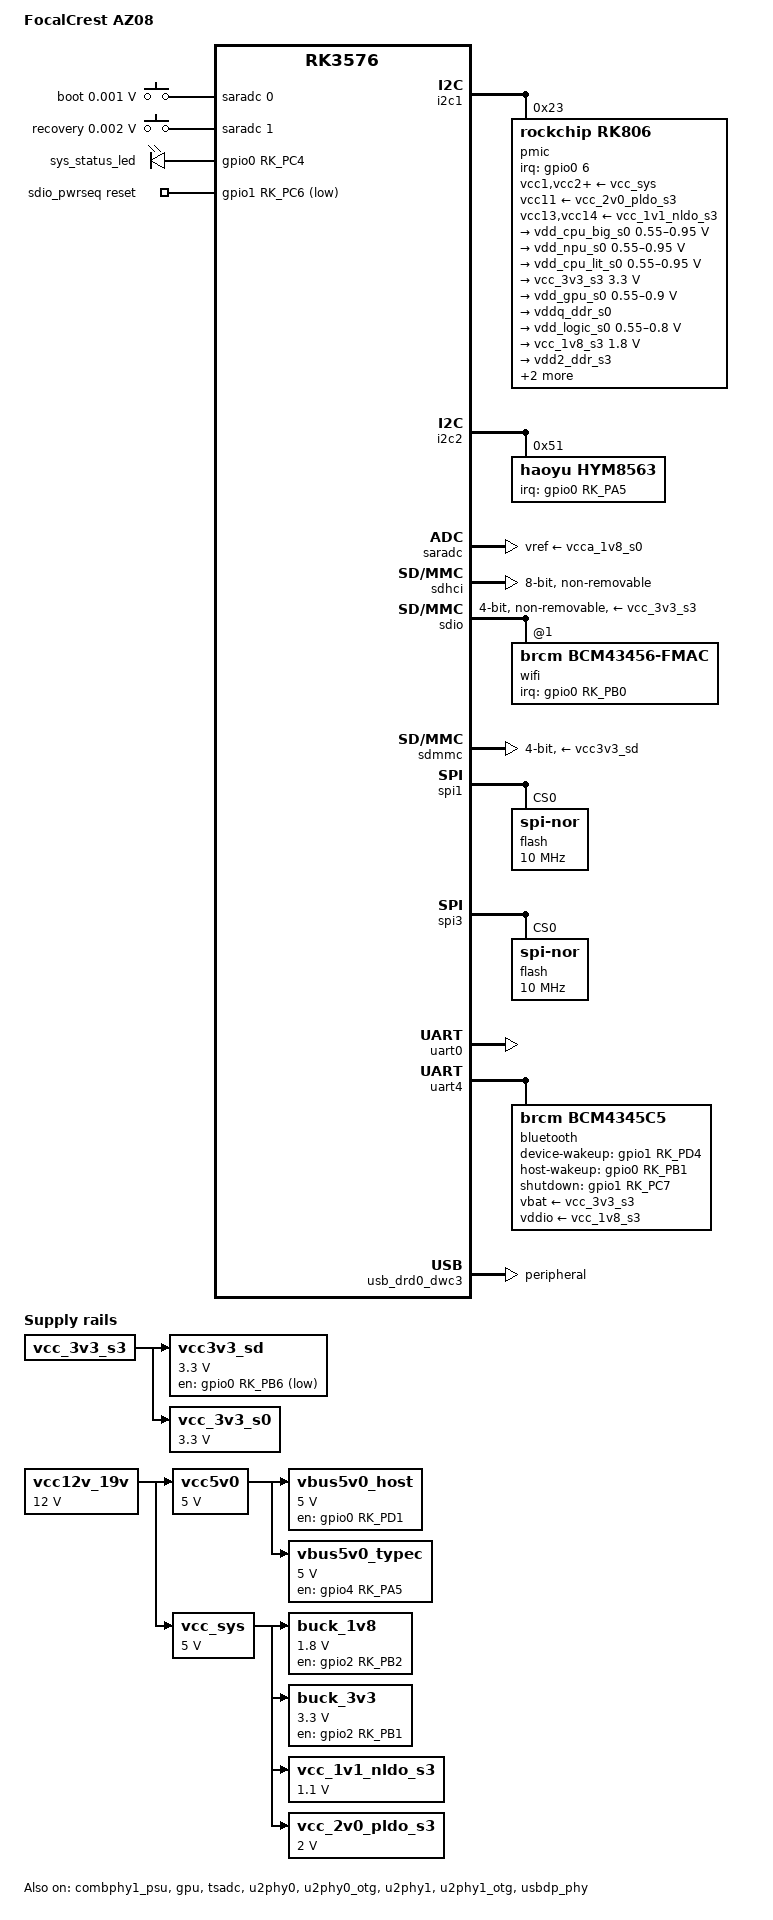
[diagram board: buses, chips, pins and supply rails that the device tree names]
// SPDX-License-Identifier: (GPL-2.0+ OR MIT)
/*
 * Copyright (c) 2026 FocalCrest.
 *
 */

/dts-v1/;

#include <dt-bindings/gpio/gpio.h>
#include <dt-bindings/input/input.h>
#include <dt-bindings/interrupt-controller/irq.h>
#include <dt-bindings/leds/common.h>
#include <dt-bindings/pinctrl/rockchip.h>
#include "rk3576.dtsi"

/ {
	model = "FocalCrest AZ08";
	compatible = "focalcrest,rk3576s-az08", "rockchip,rk3576";

	aliases {
		mmc0 = &sdhci;
		mmc1 = &sdmmc;
		mmc2 = &sdio;
	};

	chosen {
		stdout-path = "serial0:1500000n8";
	};

	reserved-memory {
		#address-cells = <2>;
		#size-cells = <2>;
		ranges;

		optee@48400000 {
			reg = <0x0 0x48400000 0x0 0x01000000>;
			no-map;
		};
	};

	adc-keys-0 {
		compatible = "adc-keys";
		io-channels = <&saradc 0>;
		io-channel-names = "buttons";
		keyup-threshold-microvolt = <1800000>;
		poll-interval = <100>;

		button-boot {
			label = "boot";
			linux,code = <KEY_1>;
			press-threshold-microvolt = <1000>;
		};
	};

	adc-keys-1 {
		compatible = "adc-keys";
		io-channels = <&saradc 1>;
		io-channel-names = "buttons";
		keyup-threshold-microvolt = <1800000>;
		poll-interval = <100>;

		button-recovery {
			label = "recovery";
			linux,code = <KEY_2>;
			press-threshold-microvolt = <2000>;
		};
	};

	leds {
		compatible = "gpio-leds";

		sys_status_led: led-0 {
			function = LED_FUNCTION_HEARTBEAT;
			gpios = <&gpio0 RK_PC4 GPIO_ACTIVE_HIGH>;
			label = "sys_status_led";
			linux,default-trigger = "heartbeat";
			pinctrl-names = "default";
			pinctrl-0 = <&sys_status_led_pin>;
		};
	};

	buck_1v8: regulator-buck-1v8 {
		compatible = "regulator-fixed";
		enable-active-high;
		gpio = <&gpio2 RK_PB2 GPIO_ACTIVE_HIGH>;
		pinctrl-names = "default";
		pinctrl-0 = <&buck_1v8_en>;
		regulator-name = "buck_1v8";
		regulator-always-on;
		regulator-boot-on;
		regulator-min-microvolt = <1800000>;
		regulator-max-microvolt = <1800000>;
		vin-supply = <&vcc_sys>;
	};

	buck_3v3: regulator-buck-3v3 {
		compatible = "regulator-fixed";
		enable-active-high;
		gpio = <&gpio2 RK_PB1 GPIO_ACTIVE_HIGH>;
		pinctrl-names = "default";
		pinctrl-0 = <&buck_3v3_en>;
		regulator-name = "buck_3v3";
		regulator-always-on;
		regulator-boot-on;
		regulator-min-microvolt = <3300000>;
		regulator-max-microvolt = <3300000>;
		vin-supply = <&vcc_sys>;
	};

	vbus5v0_host: regulator-vbus5v0-host {
		compatible = "regulator-fixed";
		enable-active-high;
		gpio = <&gpio0 RK_PD1 GPIO_ACTIVE_HIGH>;
		pinctrl-names = "default";
		pinctrl-0 = <&usb_otg1_pwren>;
		regulator-name = "vbus5v0_host";
		regulator-min-microvolt = <5000000>;
		regulator-max-microvolt = <5000000>;
		vin-supply = <&vcc5v0>;
	};

	vbus5v0_typec: regulator-vbus5v0-typec {
		compatible = "regulator-fixed";
		enable-active-high;
		gpio = <&gpio4 RK_PA5 GPIO_ACTIVE_HIGH>;
		pinctrl-names = "default";
		pinctrl-0 = <&usb_otg0_pwren>;
		regulator-name = "vbus5v0_typec";
		regulator-min-microvolt = <5000000>;
		regulator-max-microvolt = <5000000>;
		vin-supply = <&vcc5v0>;
	};

	vcc12v_19v: regulator-vcc12v-19v {
		compatible = "regulator-fixed";
		regulator-name = "vcc12v_19v";
		regulator-always-on;
		regulator-boot-on;
		regulator-min-microvolt = <12000000>;
		regulator-max-microvolt = <12000000>;
	};

	vcc3v3_sd: regulator-vcc3v3-sd {
		compatible = "regulator-fixed";
		gpio = <&gpio0 RK_PB6 GPIO_ACTIVE_LOW>;
		regulator-name = "vcc3v3_sd";
		regulator-always-on;
		regulator-boot-on;
		regulator-min-microvolt = <3300000>;
		regulator-max-microvolt = <3300000>;
		vin-supply = <&vcc_3v3_s3>;
	};

	vcc5v0: regulator-vcc5v0 {
		compatible = "regulator-fixed";
		regulator-name = "vcc5v0";
		regulator-always-on;
		regulator-boot-on;
		regulator-min-microvolt = <5000000>;
		regulator-max-microvolt = <5000000>;
		vin-supply = <&vcc12v_19v>;
	};

	vcc_1v1_nldo_s3: regulator-vcc-1v1-nldo-s3 {
		compatible = "regulator-fixed";
		regulator-name = "vcc_1v1_nldo_s3";
		regulator-always-on;
		regulator-boot-on;
		regulator-min-microvolt = <1100000>;
		regulator-max-microvolt = <1100000>;
		vin-supply = <&vcc_sys>;
	};

	vcc_2v0_pldo_s3: regulator-vcc-2v0-pldo-s3 {
		compatible = "regulator-fixed";
		regulator-name = "vcc_2v0_pldo_s3";
		regulator-always-on;
		regulator-boot-on;
		regulator-min-microvolt = <2000000>;
		regulator-max-microvolt = <2000000>;
		vin-supply = <&vcc_sys>;
	};

	vcc_3v3_s0: regulator-vcc-3v3-s0 {
		compatible = "regulator-fixed";
		regulator-name = "vcc_3v3_s0";
		regulator-always-on;
		regulator-boot-on;
		regulator-min-microvolt = <3300000>;
		regulator-max-microvolt = <3300000>;
		vin-supply = <&vcc_3v3_s3>;
	};

	vcc_sys: regulator-vcc-sys {
		compatible = "regulator-fixed";
		regulator-name = "vcc_sys";
		regulator-always-on;
		regulator-boot-on;
		regulator-min-microvolt = <5000000>;
		regulator-max-microvolt = <5000000>;
		vin-supply = <&vcc12v_19v>;
	};

	sdio_pwrseq: sdio-pwrseq {
		compatible = "mmc-pwrseq-simple";
		clocks = <&xin32k>;
		clock-names = "ext_clock";
		pinctrl-names = "default";
		pinctrl-0 = <&wifi_poweren_gpio>, <&clk1_32k_pins>;
		post-power-on-delay-ms = <200>;
		reset-gpios = <&gpio1 RK_PC6 GPIO_ACTIVE_LOW>;
	};
};

&combphy1_psu {
	status = "okay";
};

&cpu_b0 {
	cpu-supply = <&vdd_cpu_big_s0>;
};

&cpu_b1 {
	cpu-supply = <&vdd_cpu_big_s0>;
};

&cpu_b2 {
	cpu-supply = <&vdd_cpu_big_s0>;
};

&cpu_b3 {
	cpu-supply = <&vdd_cpu_big_s0>;
};

&cpu_l0 {
	cpu-supply = <&vdd_cpu_lit_s0>;
};

&cpu_l1 {
	cpu-supply = <&vdd_cpu_lit_s0>;
};

&cpu_l2 {
	cpu-supply = <&vdd_cpu_lit_s0>;
};

&cpu_l3 {
	cpu-supply = <&vdd_cpu_lit_s0>;
};

&gpu {
	mali-supply = <&vdd_gpu_s0>;
	status = "okay";
};

&i2c1 {
	status = "okay";

	pmic@23 {
		compatible = "rockchip,rk806";
		reg = <0x23>;

		interrupt-parent = <&gpio0>;
		interrupts = <6 IRQ_TYPE_LEVEL_LOW>;

		pinctrl-names = "default";
		pinctrl-0 = <&pmic_pins>, <&rk806_dvs1_null>,
			    <&rk806_dvs2_null>, <&rk806_dvs3_null>;

		system-power-controller;

		vcc1-supply = <&vcc_sys>;
		vcc2-supply = <&vcc_sys>;
		vcc3-supply = <&vcc_sys>;
		vcc4-supply = <&vcc_sys>;
		vcc5-supply = <&vcc_sys>;
		vcc6-supply = <&vcc_sys>;
		vcc7-supply = <&vcc_sys>;
		vcc8-supply = <&vcc_sys>;
		vcc9-supply = <&vcc_sys>;
		vcc10-supply = <&vcc_sys>;
		vcc11-supply = <&vcc_2v0_pldo_s3>;
		vcc12-supply = <&vcc_sys>;
		vcc13-supply = <&vcc_1v1_nldo_s3>;
		vcc14-supply = <&vcc_1v1_nldo_s3>;
		vcca-supply = <&vcc_sys>;

		gpio-controller;
		#gpio-cells = <2>;

		rk806_dvs1_null: dvs1-null-pins {
			pins = "gpio_pwrctrl1";
			function = "pin_fun0";
		};

		rk806_dvs2_null: dvs2-null-pins {
			pins = "gpio_pwrctrl2";
			function = "pin_fun0";
		};

		rk806_dvs3_null: dvs3-null-pins {
			pins = "gpio_pwrctrl3";
			function = "pin_fun0";
		};

		rk806_dvs1_slp: dvs1-slp-pins {
			pins = "gpio_pwrctrl1";
			function = "pin_fun1";
		};

		rk806_dvs1_pwrdn: dvs1-pwrdn-pins {
			pins = "gpio_pwrctrl1";
			function = "pin_fun2";
		};

		rk806_dvs1_rst: dvs1-rst-pins {
			pins = "gpio_pwrctrl1";
			function = "pin_fun3";
		};

		rk806_dvs2_slp: dvs2-slp-pins {
			pins = "gpio_pwrctrl2";
			function = "pin_fun1";
		};

		rk806_dvs2_pwrdn: dvs2-pwrdn-pins {
			pins = "gpio_pwrctrl2";
			function = "pin_fun2";
		};

		rk806_dvs2_rst: dvs2-rst-pins {
			pins = "gpio_pwrctrl2";
			function = "pin_fun3";
		};

		rk806_dvs2_dvs: dvs2-dvs-pins {
			pins = "gpio_pwrctrl2";
			function = "pin_fun4";
		};

		rk806_dvs2_gpio: dvs2-gpio-pins {
			pins = "gpio_pwrctrl2";
			function = "pin_fun5";
		};

		rk806_dvs3_slp: dvs3-slp-pins {
			pins = "gpio_pwrctrl3";
			function = "pin_fun1";
		};

		rk806_dvs3_pwrdn: dvs3-pwrdn-pins {
			pins = "gpio_pwrctrl3";
			function = "pin_fun2";
		};

		rk806_dvs3_rst: dvs3-rst-pins {
			pins = "gpio_pwrctrl3";
			function = "pin_fun3";
		};

		rk806_dvs3_dvs: dvs3-dvs-pins {
			pins = "gpio_pwrctrl3";
			function = "pin_fun4";
		};

		rk806_dvs3_gpio: dvs3-gpio-pins {
			pins = "gpio_pwrctrl3";
			function = "pin_fun5";
		};

		regulators {
			vdd_cpu_big_s0: dcdc-reg1 {
				regulator-always-on;
				regulator-boot-on;
				regulator-min-microvolt = <550000>;
				regulator-max-microvolt = <950000>;
				regulator-ramp-delay = <12500>;
				regulator-name = "vdd_cpu_big_s0";
				regulator-enable-ramp-delay = <400>;
				regulator-state-mem {
					regulator-off-in-suspend;
				};
			};

			vdd_npu_s0: dcdc-reg2 {
				regulator-boot-on;
				regulator-min-microvolt = <550000>;
				regulator-max-microvolt = <950000>;
				regulator-ramp-delay = <12500>;
				regulator-name = "vdd_npu_s0";
				regulator-enable-ramp-delay = <400>;
				regulator-state-mem {
					regulator-off-in-suspend;
				};
			};

			vdd_cpu_lit_s0: dcdc-reg3 {
				regulator-always-on;
				regulator-boot-on;
				regulator-min-microvolt = <550000>;
				regulator-max-microvolt = <950000>;
				regulator-ramp-delay = <12500>;
				regulator-name = "vdd_cpu_lit_s0";
				regulator-state-mem {
					regulator-off-in-suspend;
					regulator-suspend-microvolt = <750000>;
				};
			};

			vcc_3v3_s3: dcdc-reg4 {
				regulator-always-on;
				regulator-boot-on;
				regulator-min-microvolt = <3300000>;
				regulator-max-microvolt = <3300000>;
				regulator-name = "vcc_3v3_s3";
				regulator-state-mem {
					regulator-on-in-suspend;
					regulator-suspend-microvolt = <3300000>;
				};
			};

			vdd_gpu_s0: dcdc-reg5 {
				regulator-boot-on;
				regulator-min-microvolt = <550000>;
				regulator-max-microvolt = <900000>;
				regulator-ramp-delay = <12500>;
				regulator-name = "vdd_gpu_s0";
				regulator-enable-ramp-delay = <400>;
				regulator-state-mem {
					regulator-off-in-suspend;
					regulator-suspend-microvolt = <850000>;
				};
			};

			vddq_ddr_s0: dcdc-reg6 {
				regulator-always-on;
				regulator-boot-on;
				regulator-name = "vddq_ddr_s0";
				regulator-state-mem {
					regulator-off-in-suspend;
				};
			};

			vdd_logic_s0: dcdc-reg7 {
				regulator-always-on;
				regulator-boot-on;
				regulator-min-microvolt = <550000>;
				regulator-max-microvolt = <800000>;
				regulator-name = "vdd_logic_s0";
				regulator-state-mem {
					regulator-off-in-suspend;
				};
			};

			vcc_1v8_s3: dcdc-reg8 {
				regulator-always-on;
				regulator-boot-on;
				regulator-min-microvolt = <1800000>;
				regulator-max-microvolt = <1800000>;
				regulator-name = "vcc_1v8_s3";
				regulator-state-mem {
					regulator-on-in-suspend;
					regulator-suspend-microvolt = <1800000>;
				};
			};

			vdd2_ddr_s3: dcdc-reg9 {
				regulator-always-on;
				regulator-boot-on;
				regulator-name = "vdd2_ddr_s3";
				regulator-state-mem {
					regulator-on-in-suspend;
				};
			};

			vdd_ddr_s0: dcdc-reg10 {
				regulator-always-on;
				regulator-boot-on;
				regulator-min-microvolt = <550000>;
				regulator-max-microvolt = <1200000>;
				regulator-name = "vdd_ddr_s0";
				regulator-state-mem {
					regulator-off-in-suspend;
				};
			};

			vcca_1v8_s0: pldo-reg1 {
				regulator-always-on;
				regulator-boot-on;
				regulator-min-microvolt = <1800000>;
				regulator-max-microvolt = <1800000>;
				regulator-name = "vcca_1v8_s0";
				regulator-state-mem {
					regulator-off-in-suspend;
				};
			};

			vcca1v8_pldo2_s0: pldo-reg2 {
				regulator-always-on;
				regulator-boot-on;
				regulator-min-microvolt = <1800000>;
				regulator-max-microvolt = <1800000>;
				regulator-name = "vcca1v8_pldo2_s0";
				regulator-state-mem {
					regulator-off-in-suspend;
				};
			};

			vdda_1v2_s0: pldo-reg3 {
				regulator-always-on;
				regulator-boot-on;
				regulator-min-microvolt = <1200000>;
				regulator-max-microvolt = <1200000>;
				regulator-name = "vdda_1v2_s0";
				regulator-state-mem {
					regulator-off-in-suspend;
				};
			};

			vcca_3v3_s0: pldo-reg4 {
				regulator-always-on;
				regulator-boot-on;
				regulator-min-microvolt = <3300000>;
				regulator-max-microvolt = <3300000>;
				regulator-name = "vcca_3v3_s0";
				regulator-state-mem {
					regulator-off-in-suspend;
				};
			};

			vccio_sd_s0: pldo-reg5 {
				regulator-always-on;
				regulator-boot-on;
				regulator-min-microvolt = <1800000>;
				regulator-max-microvolt = <3300000>;
				regulator-name = "vccio_sd_s0";
				regulator-state-mem {
					regulator-off-in-suspend;
				};
			};

			vcca1v8_pldo6_s3: pldo-reg6 {
				regulator-always-on;
				regulator-boot-on;
				regulator-min-microvolt = <1800000>;
				regulator-max-microvolt = <1800000>;
				regulator-name = "vcca1v8_pldo6_s3";
				regulator-state-mem {
					regulator-on-in-suspend;
					regulator-suspend-microvolt = <1800000>;
				};
			};

			vdd_0v75_s3: nldo-reg1 {
				regulator-always-on;
				regulator-boot-on;
				regulator-min-microvolt = <750000>;
				regulator-max-microvolt = <750000>;
				regulator-name = "vdd_0v75_s3";
				regulator-state-mem {
					regulator-on-in-suspend;
					regulator-suspend-microvolt = <750000>;
				};
			};

			vdda_ddr_pll_s0: nldo-reg2 {
				regulator-always-on;
				regulator-boot-on;
				regulator-min-microvolt = <850000>;
				regulator-max-microvolt = <850000>;
				regulator-name = "vdda_ddr_pll_s0";
				regulator-state-mem {
					regulator-off-in-suspend;
				};
			};

			vdda0v75_hdmi_s0: nldo-reg3 {
				regulator-always-on;
				regulator-boot-on;
				regulator-min-microvolt = <837500>;
				regulator-max-microvolt = <837500>;
				regulator-name = "vdda0v75_hdmi_s0";
				regulator-state-mem {
					regulator-off-in-suspend;
				};
			};

			vdda_0v85_s0: nldo-reg4 {
				regulator-always-on;
				regulator-boot-on;
				regulator-min-microvolt = <850000>;
				regulator-max-microvolt = <850000>;
				regulator-name = "vdda_0v85_s0";
				regulator-state-mem {
					regulator-off-in-suspend;
				};
			};

			vdda_0v75_s0: nldo-reg5 {
				regulator-always-on;
				regulator-boot-on;
				regulator-min-microvolt = <750000>;
				regulator-max-microvolt = <750000>;
				regulator-name = "vdda_0v75_s0";
				regulator-state-mem {
					regulator-off-in-suspend;
				};
			};
		};
	};
};

&i2c2 {
	status = "okay";

	hym8563: rtc@51 {
		compatible = "haoyu,hym8563";
		reg = <0x51>;
		clock-output-names = "hym8563";
		interrupt-parent = <&gpio0>;
		interrupts = <RK_PA5 IRQ_TYPE_LEVEL_LOW>;
		pinctrl-names = "default";
		pinctrl-0 = <&hym8563_int>;
		wakeup-source;
		#clock-cells = <0>;
	};
};

&pinctrl {
	bluetooth {
		bt_reg_on: bt-reg-on {
			rockchip,pins = <1 RK_PC7 RK_FUNC_GPIO &pcfg_pull_up>;
		};

		bt_wake_host: bt-wake-host {
			rockchip,pins = <0 RK_PB1 RK_FUNC_GPIO &pcfg_pull_down>;
		};

		host_wake_bt: host-wake-bt {
			rockchip,pins = <1 RK_PD4 RK_FUNC_GPIO &pcfg_pull_up>;
		};
	};

	hym8563 {
		hym8563_int: hym8563-int {
			rockchip,pins = <0 RK_PA5 RK_FUNC_GPIO &pcfg_pull_up>;
		};
	};

	leds {
		sys_status_led_pin: sys-status-led-pin {
			rockchip,pins = <0 RK_PC4 RK_FUNC_GPIO &pcfg_pull_none>;
		};
	};

	power {
		buck_1v8_en: buck-1v8-en {
			rockchip,pins = <2 RK_PB2 RK_FUNC_GPIO &pcfg_pull_none>;
		};

		buck_3v3_en: buck-3v3-en {
			rockchip,pins = <2 RK_PB1 RK_FUNC_GPIO &pcfg_pull_none>;
		};
	};

	usb {
		usb_otg0_pwren: usb-otg0-pwren {
			rockchip,pins = <4 RK_PA5 RK_FUNC_GPIO &pcfg_pull_none>;
		};

		usb_otg1_pwren: usb-otg1-pwren {
			rockchip,pins = <0 RK_PD1 RK_FUNC_GPIO &pcfg_pull_none>;
		};
	};

	wireless-wlan {
		wifi_host_wake_irq: wifi-host-wake-irq {
			rockchip,pins = <0 RK_PB0 RK_FUNC_GPIO &pcfg_pull_down>;
		};

		wifi_poweren_gpio: wifi-poweren-gpio {
			rockchip,pins = <1 RK_PC6 RK_FUNC_GPIO &pcfg_pull_up>;
		};
	};
};

&php_grf {
	clocks = <&cru PCLK_PHP_ROOT>;
};

&usb_grf {
	clocks = <&cru PCLK_USB_ROOT>;
};

&saradc {
	vref-supply = <&vcca_1v8_s0>;
	status = "okay";
};

&sdhci {
	/delete-property/ supports-cqe;
	bus-width = <8>;
	full-pwr-cycle-in-suspend;
	max-frequency = <200000000>;
	mmc-hs400-1_8v;
	mmc-hs400-enhanced-strobe;
	no-sdio;
	no-sd;
	non-removable;
	status = "okay";
};

&sdio {
	bus-width = <4>;
	max-frequency = <150000000>;
	cap-sd-highspeed;
	cap-sdio-irq;
	disable-wp;
	keep-power-in-suspend;
	mmc-pwrseq = <&sdio_pwrseq>;
	non-removable;
	sd-uhs-sdr104;
	vmmc-supply = <&vcc_3v3_s3>;
	vqmmc-supply = <&vcc_1v8_s3>;
	#address-cells = <1>;
	#size-cells = <0>;
	status = "okay";

	wifi@1 {
		compatible = "brcm,bcm43456-fmac", "brcm,bcm4329-fmac";
		reg = <1>;
		//clocks = <&xin32k>;
		//clock-names = "lpo";
		interrupt-parent = <&gpio0>;
		interrupts = <RK_PB0 IRQ_TYPE_LEVEL_HIGH>;
		interrupt-names = "host-wake";
		pinctrl-names = "default";
		pinctrl-0 = <&wifi_host_wake_irq>;
	};
};

&sdmmc {
	bus-width = <4>;
	cap-mmc-highspeed;
	cap-sd-highspeed;
	disable-wp;
	max-frequency = <200000000>;
	no-sdio;
	no-mmc;
	pinctrl-names = "default";
	pinctrl-0 = <&sdmmc0_clk &sdmmc0_cmd &sdmmc0_det &sdmmc0_bus4>;
	sd-uhs-sdr104;
	vmmc-supply = <&vcc3v3_sd>;
	vqmmc-supply = <&vccio_sd_s0>;
	status = "okay";
};

&spi1 {
	pinctrl-names = "default";
	pinctrl-0 = <&spi1m1_csn0 &spi1m1_pins>;
	status = "okay";

	flash@0 {
		compatible = "jedec,spi-nor";
		reg = <0>;
		spi-max-frequency = <10000000>;
		#address-cells = <1>;
		#size-cells = <1>;
	};
};

&spi3 {
	pinctrl-names = "default";
	pinctrl-0 = <&spi3m2_csn0 &spi3m2_csn1 &spi3m2_pins>;
	status = "okay";

	flash@0 {
		compatible = "jedec,spi-nor";
		reg = <0>;
		spi-max-frequency = <10000000>;
		#address-cells = <1>;
		#size-cells = <1>;
	};
};

&tsadc {
	status = "okay";
};

&uart0 {
	status = "okay";
};

&uart4 {
	pinctrl-names = "default";
	pinctrl-0 = <&uart4m1_xfer &uart4m1_ctsn &uart4m1_rtsn>;
	uart-has-rtscts;
	status = "okay";

	bluetooth {
		compatible = "brcm,bcm4345c5";
		clocks = <&xin32k>;
		clock-names = "lpo";
		device-wakeup-gpios = <&gpio1 RK_PD4 GPIO_ACTIVE_HIGH>;
		host-wakeup-gpios = <&gpio0 RK_PB1 GPIO_ACTIVE_HIGH>;
		pinctrl-names = "default";
		pinctrl-0 = <&bt_reg_on &bt_wake_host &host_wake_bt>;
		shutdown-gpios = <&gpio1 RK_PC7 GPIO_ACTIVE_HIGH>;
		vbat-supply = <&vcc_3v3_s3>;
		vddio-supply = <&vcc_1v8_s3>;
	};
};

&u2phy0 {
	status = "okay";
};

&u2phy0_otg {
	vbus-supply = <&vbus5v0_typec>;
	status = "okay";
};

&u2phy1 {
	status = "okay";
};

&u2phy1_otg {
	phy-supply = <&vbus5v0_host>;
	status = "okay";
};

&usb_drd0_dwc3 {
	dr_mode = "peripheral";
	status = "okay";
};

&usb_drd1_dwc3 {
	dr_mode = "host";
	status = "disabled";
};

&usbdp_phy {
	status = "okay";
};
